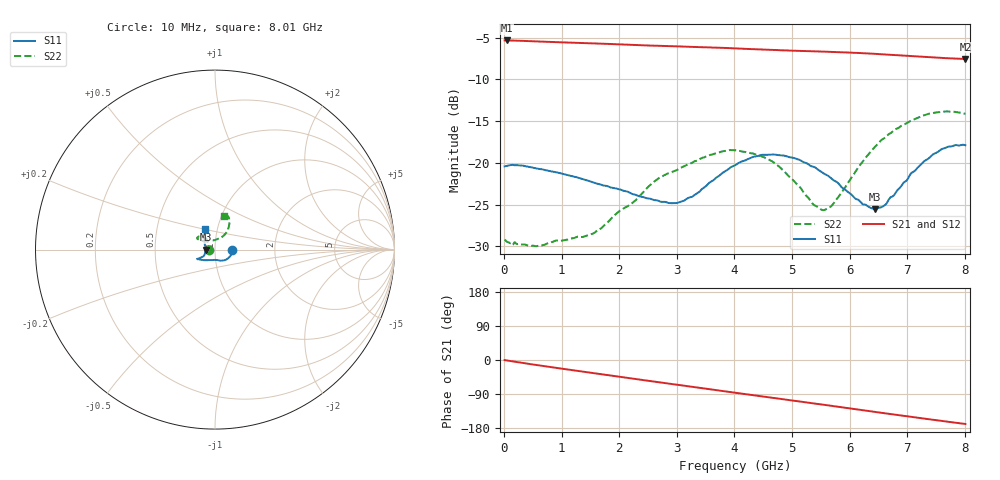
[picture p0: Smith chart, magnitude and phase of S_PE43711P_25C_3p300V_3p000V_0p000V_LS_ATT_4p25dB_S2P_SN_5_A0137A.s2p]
! Device ID: PE43711P
! File Path: z:\PE43711P\CHAR_NOM_04282014\AMB\3p300\LS_ATT_4p25dB\PE43711P_AMB_3p300V_3p000V_0p000V_LS_ATT_4p25dB_S2P_SN_5_A0137A.s2p
! Serial: 5
! Lot: A0137A
! Temp: 25C
! VDD: 3.300
! VSS: 0.000
! Control_Hi: 3.000
! Control_Lo: 0.000
! Attenuation Step: 4.25dB
! Port 1: RF1
! Port 2: RF2
! ThroughPath:1-2
! IDD: 0.0001277303
! ISS: -1.495e-007
#  Hz  S  RI  R  50
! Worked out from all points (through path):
!   801 points, 10 MHz to 8.01 GHz, reference 50 ohm
!   highest |S21| = -5.32 dB at 50 MHz (marker M1); lowest = -7.5 dB at 8.01 GHz (marker M2)
!   group delay of S21, straight-line fit = 58.2 ps
!   lowest |S11| = -25.6 dB at 6.44 GHz (marker M3), VSWR 1.11, Z = 45 + j0.0441 ohm
!   |S11| at or under -10 dB: start of sweep to end of sweep
!   |S22| runs from -30.0 to -13.8 dB; largest |S21 - S12| = 0.00097
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1e7  0.0953 -0.000395  0.5418 -0.00271  0.542 -0.00275  -0.0346 0.000234
5e7  0.096 -0.00236  0.5418 -0.0118  0.5418 -0.0117  -0.0337 0.000744
5.7e8  0.0857 -0.0348  0.5202 -0.1237  0.5204 -0.1237  -0.0311 -0.00622
1.35e9  0.0545 -0.0589  0.4514 -0.265  0.4517 -0.2651  -0.0359 0.00112
1.69e9  0.0415 -0.0611  0.41 -0.3171  0.4104 -0.3172  -0.0378 0.015
2.68e9  0.0109 -0.0583  0.2629 -0.4294  0.2631 -0.4297  -0.0505 0.0631
3.11e9  -0.013 -0.0576  0.1904 -0.4603  0.1905 -0.4608  -0.0632 0.0707
3.55e9  -0.0458 -0.0597  0.1135 -0.479  0.1136 -0.4792  -0.0819 0.0747
4.01e9  -0.0788 -0.0561  0.0309 -0.4849  0.0306 -0.4853  -0.0989 0.0662
4.34e9  -0.095 -0.0533  -0.0267 -0.4797  -0.0268 -0.48  -0.0968 0.0588
4.68e9  -0.0993 -0.0522  -0.084 -0.4675  -0.0842 -0.4677  -0.0859 0.0529
5.12e9  -0.0919 -0.0498  -0.154 -0.4434  -0.1542 -0.4436  -0.0538 0.0489
5.35e9  -0.0837 -0.0455  -0.189 -0.4267  -0.1892 -0.4272  -0.0312 0.0481
5.53e9  -0.0761 -0.0432  -0.2156 -0.4116  -0.2156 -0.4118  -0.0122 0.0507
5.68e9  -0.0699 -0.0407  -0.2373 -0.3976  -0.2374 -0.3976  0.00429 0.0549
6.22e9  -0.0544 -0.016  -0.306 -0.3363  -0.3065 -0.3364  0.055 0.085
6.44e9  -0.0526 0.000489  -0.3293 -0.3073  -0.3295 -0.3075  0.0692 0.1039
6.68e9  -0.0556 0.0234  -0.351 -0.2745  -0.351 -0.2748  0.0768 0.1274
7.08e9  -0.0624 0.0612  -0.3793 -0.2165  -0.3793 -0.2167  0.0797 0.1611
7.45e9  -0.0639 0.0927  -0.3968 -0.1622  -0.397 -0.1622  0.071 0.1862
7.7e9  -0.0632 0.1075  -0.4051 -0.1258  -0.405 -0.1255  0.0609 0.1943
8.01e9  -0.0543 0.1154  -0.4117 -0.0809  -0.4119 -0.08  0.052 0.1896
